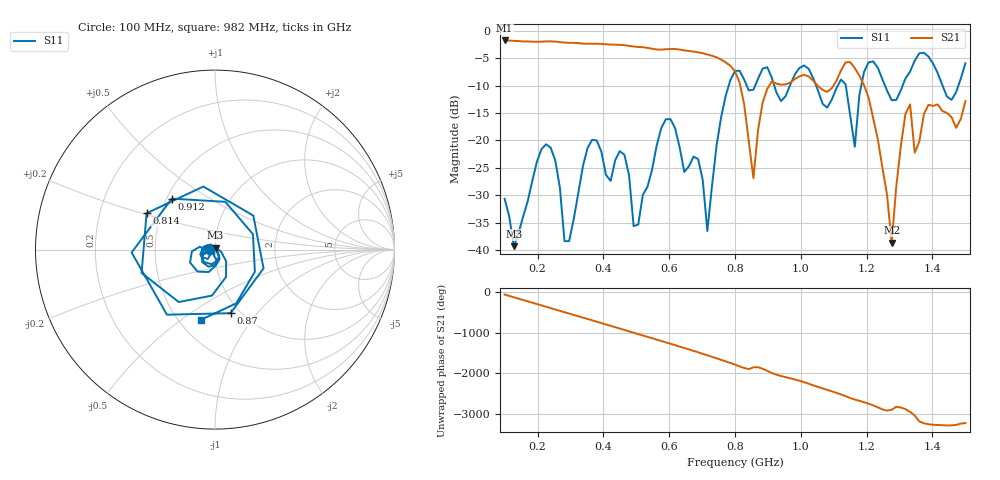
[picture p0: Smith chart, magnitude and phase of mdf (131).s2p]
! NanoVNA-App
! Date: 2025-09-26 09:40:45
! Start: 100MHz Stop: 1,5GHz Points: 101
! S-Parameter data: F S11 S21 S12 S22
# Hz S RI R 50
!  Frequency  S11_Real  S11_Imag  S21_Real  S21_Imag  S12_Real  S12_Imag  S22_Real  S22_Imag
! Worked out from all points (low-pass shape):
!   101 points, 100 MHz to 1.5 GHz, reference 50 ohm
!   highest |S21| = -1.79 dB at 100 MHz (marker M1); lowest = -38.6 dB at 1.276 GHz (marker M2)
!   |S21| within 3 dB of the highest: start of sweep to 740.6 MHz
!   lowest |S11| = -39.2 dB at 128 MHz (marker M3), VSWR 1.02, Z = 50.3 + j1.06 ohm
!   |S11| at or under -10 dB: start of sweep to 781 MHz; 1.046 GHz to 1.112 GHz (66.01 MHz wide, 6.12 % of centre); 1.256 GHz to 1.309 GHz (53.74 MHz wide, 4.19 % of centre) (the widest 3 of 7)
!   S12 and S22 are empty: the file has one direction only
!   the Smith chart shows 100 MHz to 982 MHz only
!   S11 on the Smith chart (normalised r, x): 100 MHz: 0.94, -0.01; 814 MHz: 0.42, +0.21; 870 MHz: 0.90, -0.74; 912 MHz: 0.53, +0.35; 982 MHz: 0.64, -0.59
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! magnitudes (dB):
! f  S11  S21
! 100 MHz  -30.6  -1.8
! 128 MHz  -39.2  -1.9
! 212 MHz  -21.6  -2.0
! 282 MHz  -38.3  -2.2
! 338 MHz  -24.7  -2.4
! 464 MHz  -22.6  -2.6
! 506 MHz  -35.3  -3.0
! 576 MHz  -17.7  -3.5
! 688 MHz  -23.4  -4.0
! 716 MHz  -36.5  -4.4
! 800 MHz  -7.3  -7.4
! 814 MHz  -7.3  -9.4
! 856 MHz  -10.8  -26.9
! 870 MHz  -8.8  -18.1
! 912 MHz  -8.6  -9.2
! 982 MHz  -8.0  -8.8
! 1.038 GHz  -8.7  -9.1
! 1.164 GHz  -21.1  -6.8
! 1.192 GHz  -7.5  -9.9
! 1.276 GHz  -12.7  -38.6
! 1.332 GHz  -7.5  -13.4
! 1.5 GHz  -5.9  -12.8
